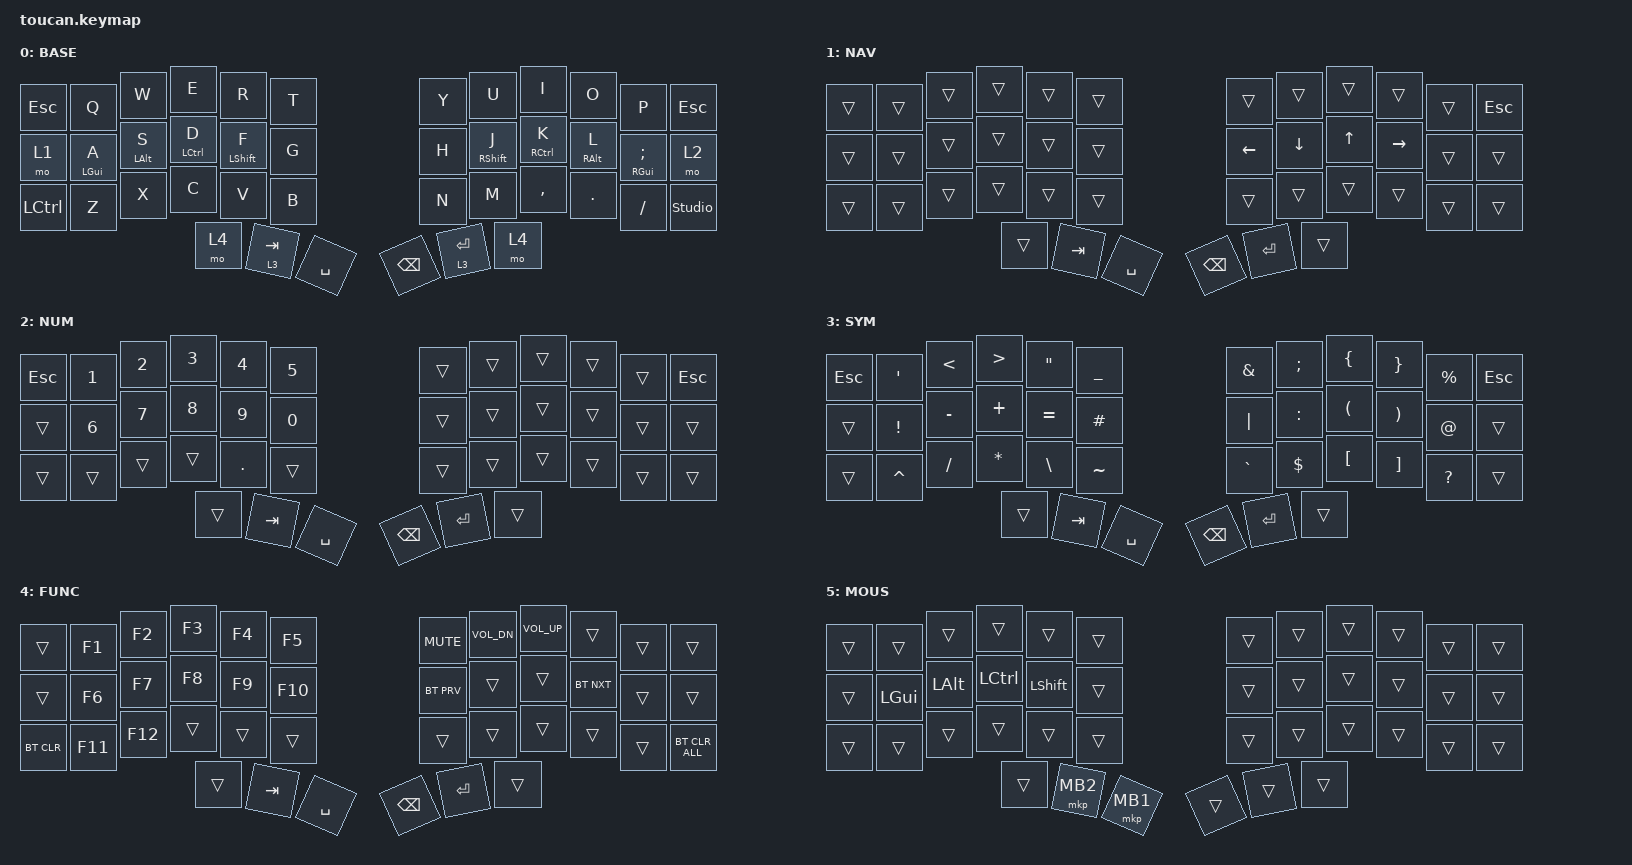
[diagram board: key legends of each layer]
#include <behaviors.dtsi>
#include <dt-bindings/zmk/keys.h>
#include <dt-bindings/zmk/bt.h>
#include <dt-bindings/zmk/outputs.h>
#include <dt-bindings/zmk/behaviors.h>
#include <input/processors.dtsi>
#include <dt-bindings/zmk/pointing.h>

#define BASE 0
#define NAV  1
#define NUM  2
#define SYM  3
#define FUNC 4
#define MOUS 5

/ {
    behaviors {
        hm: home_row {
            compatible = "zmk,behavior-hold-tap";
            #binding-cells = <2>;
            tapping-term-ms = <190>;
            quick-tap-ms = <200>;
            flavor = "tap-preferred";
            bindings = <&kp>, <&kp>;
        };
        l2: layer_tap2 {
            compatible = "zmk,behavior-hold-tap";
            #binding-cells = <2>;
            flavor = "tap-preferred";
            tapping-term-ms = <160>;
            quick-tap-ms = <200>;
            bindings = <&mo>, <&kp>;
        };
    };

    combos {
        compatible = "zmk,combos";
        combo_bspc {
            timeout-ms = <60>;
            key-positions = <14 15>, <20 21>;
            bindings = <&kp BSPC>;
        };
        combo_enter {
            timeout-ms = <40>;
            key-positions = <15 16>, <19 20>;
            bindings = <&kp RET>;
        };
    };    

    keymap {
        compatible = "zmk,keymap";

        base {
            display-name = "BASE";
            bindings = <
                &kp ESC   &kp Q      &kp W      &kp E       &kp R       &kp T      &kp Y     &kp U       &kp I       &kp O      &kp P         &kp ESC
                &mo 1     &hm LGUI A &hm LALT S &hm LCTRL D &hm LSHFT F &kp G      &kp H     &hm RSHFT J &hm RCTRL K &hm RALT L &hm RGUI SEMI &mo 2
                &kp LCTRL &kp Z      &kp X      &kp C       &kp V       &kp B      &kp N     &kp M       &kp COMMA   &kp DOT    &kp FSLH      &studio_unlock
                                     &mo 4      &l2 3 TAB   &kp SPACE   &kp BSPC   &l2 3 RET &mo 4
            >;
        };

        nav {
            display-name = "NAV";
            bindings = <
                &trans &trans &trans &trans &trans    &trans      &trans   &trans   &trans &trans    &trans &kp ESC
                &trans &trans &trans &trans &trans    &trans      &kp LEFT &kp DOWN &kp UP &kp RIGHT &trans &trans
                &trans &trans &trans &trans &trans    &trans      &trans   &trans   &trans &trans    &trans &trans
                                     &trans &kp TAB   &kp SPACE   &kp BSPC &kp RET  &trans
            >;
        };

        num {
            display-name = "NUM";
            bindings = <
                &kp ESC &kp N1 &kp N2 &kp N3 &kp N4   &kp N5      &trans   &trans  &trans &trans &trans &kp ESC
                &trans  &kp N6 &kp N7 &kp N8 &kp N9   &kp N0      &trans   &trans  &trans &trans &trans &trans
                &trans  &trans &trans &trans &kp DOT  &trans      &trans   &trans  &trans &trans &trans &trans
                                      &trans &kp TAB  &kp SPACE   &kp BSPC &kp RET &trans
            >;
        };

        sym {
            display-name = "SYM";
            bindings = <
                &kp ESC &kp SQT   &kp LT    &kp GT    &kp DQT   &kp UNDER   &kp AMPS  &kp SEMI  &kp LBRC  &kp RBRC &kp PRCNT &kp ESC
                &trans  &kp EXCL  &kp MINUS &kp PLUS  &kp EQUAL &kp HASH    &kp PIPE  &kp COLON &kp LPAR  &kp RPAR &kp AT    &trans
                &trans  &kp CARET &kp FSLH  &kp ASTRK &kp BSLH  &kp TILDE   &kp GRAVE &kp DLLR  &kp LBKT  &kp RBKT &kp QMARK &trans
                                            &trans    &kp TAB   &kp SPACE   &kp BSPC  &kp RET   &trans
            >;
        };

        func {
            display-name = "FUNC";
            bindings = <
                &trans     &kp F1  &kp F2  &kp F3 &kp F4  &kp F5      &kp C_MUTE  &kp C_VOL_DN &kp C_VOL_UP &trans     &trans &trans
                &trans     &kp F6  &kp F7  &kp F8 &kp F9  &kp F10     &bt BT_PRV  &trans       &trans       &bt BT_NXT &trans &trans
                &bt BT_CLR &kp F11 &kp F12 &trans &trans  &trans      &trans      &trans       &trans       &trans     &trans &bt BT_CLR_ALL
                                           &trans &kp TAB &kp SPACE   &kp BSPC    &kp RET      &trans
            >;
        };

        mous {
            display-name = "MOUS";
            bindings = <
                &trans &trans   &trans   &trans    &trans    &trans     &trans  &trans  &trans &trans &trans &trans
                &trans &kp LGUI &kp LALT &kp LCTRL &kp LSHFT &trans     &trans  &trans  &trans &trans &trans &trans
                &trans &trans   &trans   &trans    &trans    &trans     &trans  &trans  &trans &trans &trans &trans
                                         &trans    &mkp MB2  &mkp MB1   &trans  &trans  &trans
            >;
        };

        extra_1 {
                status = "reserved";
        };

        extra_2 {
                status = "reserved";
        };

        extra_3 {
                status = "reserved";
        };
    };
};
